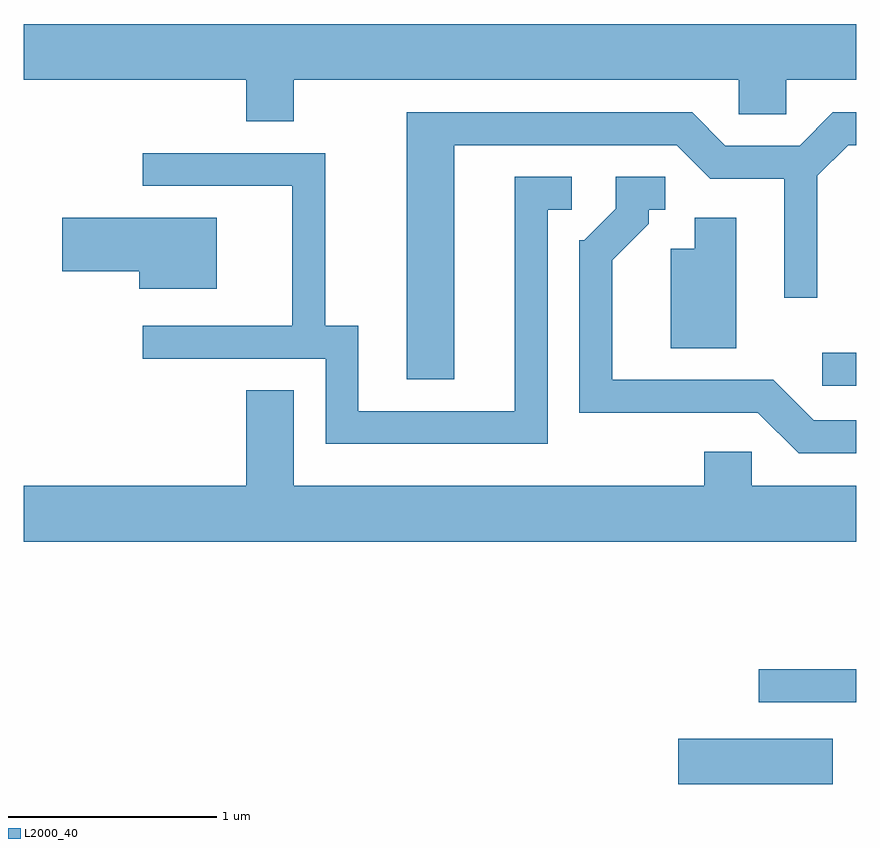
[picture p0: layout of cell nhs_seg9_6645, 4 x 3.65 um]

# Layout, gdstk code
import gdstk
lib = gdstk.Library(unit=1e-6, precision=1e-09)
def R(c, l, rs):  # rectangles x0, y0, x1, y1
    for r in rs: c.add(gdstk.rectangle(r[:2], r[2:], *l))
def P(c, l, *ps):  # polygons
    for p in ps: c.add(gdstk.Polygon(p, *l))
L2000_40 = (2000, 40)

nhs_seg9_6645 = lib.new_cell('nhs_seg9_6645')
R(nhs_seg9_6645, L2000_40, [(384.756,1988.432,385.499,1988.649), (385.143,1988.826,385.611,1988.984), (385.448,1990.346,385.611,1990.504)])
P(nhs_seg9_6645, L2000_40, [(382.909,1991.816),(385.046,1991.816),(385.046,1991.651),(385.274,1991.651),(385.274,1991.816),(385.611,1991.816),(385.611,1992.084),(381.611,1992.084),(381.611,1991.816),(382.681,1991.816),(382.681,1991.616),(382.909,1991.616)],
  [(383.679,1991.501),(384.749,1991.501),(384.909,1991.341),(385.266,1991.341),(385.266,1990.768),(385.424,1990.768),(385.424,1991.354),(385.572,1991.501),(385.611,1991.501),(385.611,1991.659),(385.499,1991.659),(385.339,1991.499),(384.982,1991.499),(384.822,1991.659),(383.451,1991.659),(383.451,1990.376),(383.679,1990.376)],
  [(384.129,1991.191),(384.243,1991.191),(384.243,1991.349),(383.971,1991.349),(383.971,1990.224),(383.219,1990.224),(383.219,1990.634),(383.059,1990.634),(383.059,1991.464),(382.183,1991.464),(382.183,1991.306),(382.901,1991.306),(382.901,1990.634),(382.183,1990.634),(382.183,1990.476),(383.061,1990.476),(383.061,1990.066),(384.129,1990.066)],
  [(385.611,1990.179),(385.407,1990.179),(385.212,1990.374),(384.439,1990.374),(384.439,1990.949),(384.614,1991.124),(384.614,1991.191),(384.693,1991.191),(384.693,1991.349),(384.456,1991.349),(384.456,1991.197),(384.304,1991.044),(384.281,1991.044),(384.281,1990.216),(385.139,1990.216),(385.334,1990.021),(385.611,1990.021)],
  [(382.539,1991.154),(381.796,1991.154),(381.796,1990.896),(382.166,1990.896),(382.166,1990.811),(382.539,1990.811)],
  [(385.034,1991.154),(384.836,1991.154),(384.836,1991.004),(384.721,1991.004),(384.721,1990.526),(385.034,1990.526)],
  [(385.611,1989.864),(385.109,1989.864),(385.109,1990.029),(384.881,1990.029),(384.881,1989.864),(382.909,1989.864),(382.909,1990.324),(382.681,1990.324),(382.681,1989.864),(381.611,1989.864),(381.611,1989.596),(385.611,1989.596)])

lib.write_gds('nhs_seg9_6645.gds')
